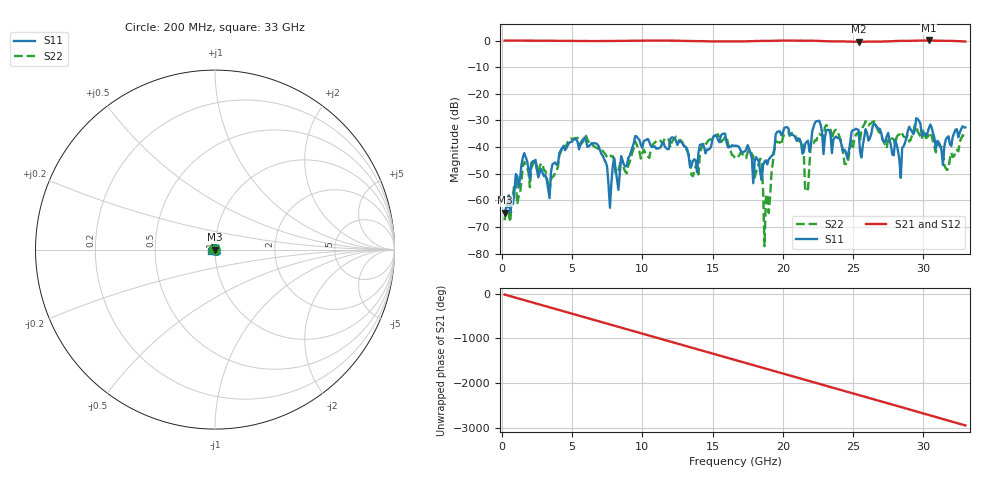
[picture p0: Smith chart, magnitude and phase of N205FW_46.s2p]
# GHZ S RI R 50
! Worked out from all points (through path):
!   329 points, 200 MHz to 33 GHz, reference 50 ohm
!   highest |S21| = 0.03 dB at 30.4 GHz (marker M1); lowest = -0.5 dB at 25.4 GHz (marker M2)
!   group delay of S21, straight-line fit = 248 ps
!   lowest |S11| = -64.6 dB at 200 MHz (marker M3), VSWR 1.00, Z = 50 - j0.0581 ohm
!   |S11| at or under -10 dB: start of sweep to end of sweep
!   |S22| runs from -77.2 to -30.3 dB; largest |S21 - S12| = 0.0022
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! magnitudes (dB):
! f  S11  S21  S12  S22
! 200 MHz  -64.6  0.0  0.0  -67.5
! 1.6 GHz  -42.3  0.0  0.0  -45.5
! 3.4 GHz  -59.2  -0.1  -0.1  -56.6
! 5.7 GHz  -37.7  -0.2  -0.2  -38.5
! 7.7 GHz  -62.8  -0.2  -0.2  -43.2
! 8 GHz  -44.1  -0.1  -0.1  -44.9
! 11.2 GHz  -40.5  0.0  0.0  -37.3
! 16.6 GHz  -39.5  -0.3  -0.3  -44.3
! 18.4 GHz  -49.7  -0.1  -0.1  -44.3
! 18.7 GHz  -45.5  -0.1  -0.1  -77.2
! 18.8 GHz  -45.0  -0.1  -0.1  -58.7
! 19.5 GHz  -35.2  -0.1  -0.1  -37.6
! 21.4 GHz  -42.5  -0.1  -0.1  -38.3
! 21.6 GHz  -38.8  0.0  0.0  -56.5
! 22.1 GHz  -34.0  -0.1  -0.1  -38.6
! 25.4 GHz  -33.7  -0.5  -0.5  -35.4
! 27.6 GHz  -37.2  -0.3  -0.3  -36.6
! 28.4 GHz  -51.6  -0.1  -0.1  -34.3
! 29 GHz  -32.4  -0.1  -0.1  -37.9
! 30.4 GHz  -33.0  0.0  0.0  -35.5
! 31.4 GHz  -46.7  -0.1  -0.1  -41.0
! 33 GHz  -32.6  -0.4  -0.4  -35.5
